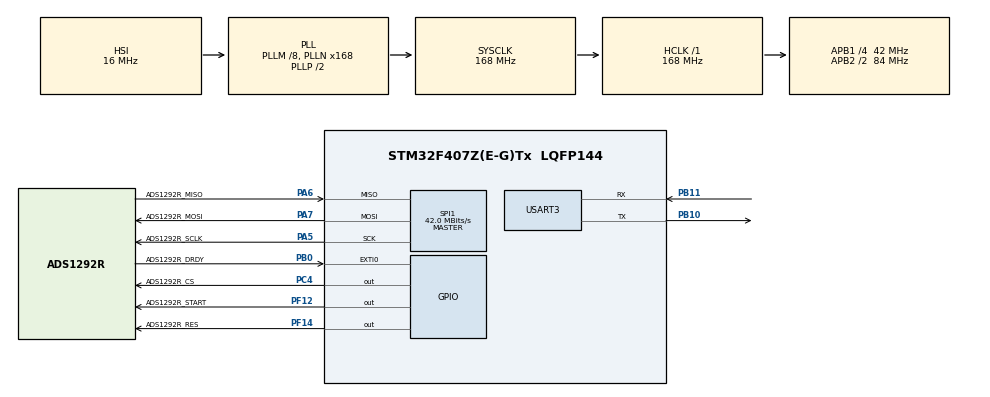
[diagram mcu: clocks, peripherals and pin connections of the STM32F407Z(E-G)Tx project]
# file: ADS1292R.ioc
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Mcu.Family=STM32F4
Mcu.Name=STM32F407Z(E-G)Tx
Mcu.Package=LQFP144
NVIC.EXTI0_IRQn=true\:0\:0\:false\:false\:true\:true\:true
NVIC.PriorityGroup=NVIC_PRIORITYGROUP_2
PA5.GPIO_Label=ADS1292R_SCLK
PA5.Mode=Full_Duplex_Master
PA5.Signal=SPI1_SCK
PA6.GPIO_Label=ADS1292R_MISO
PA6.Mode=Full_Duplex_Master
PA6.Signal=SPI1_MISO
PA7.GPIO_Label=ADS1292R_MOSI
PA7.Mode=Full_Duplex_Master
PA7.Signal=SPI1_MOSI
PB0.GPIO_Label=ADS1292R_DRDY
PB0.GPIO_ModeDefaultEXTI=GPIO_MODE_IT_FALLING
PB0.GPIO_PuPd=GPIO_PULLUP
PB0.Signal=GPXTI0
PB10.GPIO_PuPd=GPIO_PULLUP
PB10.GPIO_Speed=GPIO_SPEED_FREQ_LOW
PB10.Mode=Asynchronous
PB10.Signal=USART3_TX
PB11.GPIO_PuPd=GPIO_PULLUP
PB11.GPIO_Speed=GPIO_SPEED_FREQ_LOW
PB11.Mode=Asynchronous
PB11.Signal=USART3_RX
PC4.GPIO_Label=ADS1292R_CS
PC4.GPIO_PuPd=GPIO_PULLUP
PC4.GPIO_Speed=GPIO_SPEED_FREQ_HIGH
PC4.Signal=GPIO_Output
PF12.GPIO_Label=ADS1292R_START
PF12.Signal=GPIO_Output
PF14.GPIO_Label=ADS1292R_RES
PF14.Signal=GPIO_Output
ProjectManager.HeapSize=0x200
ProjectManager.StackSize=0x400
ProjectManager.TargetToolchain=MDK-ARM V5.27
RCC.48MHZClocksFreq_Value=84000000
RCC.AHBFreq_Value=168000000
RCC.APB1CLKDivider=RCC_HCLK_DIV4
RCC.APB1Freq_Value=42000000
RCC.APB1TimFreq_Value=84000000
RCC.APB2CLKDivider=RCC_HCLK_DIV2
RCC.APB2Freq_Value=84000000
RCC.APB2TimFreq_Value=168000000
RCC.CortexFreq_Value=168000000
RCC.HCLKFreq_Value=168000000
RCC.HSE_VALUE=25000000
RCC.HSI_VALUE=16000000
RCC.LSE_VALUE=32768
RCC.PLLM=8
RCC.PLLN=168
RCC.SYSCLKFreq_VALUE=168000000
RCC.SYSCLKSource=RCC_SYSCLKSOURCE_PLLCLK
RCC.VCOOutputFreq_Value=336000000
SPI1.CalculateBaudRate=42.0 MBits/s
SPI1.Direction=SPI_DIRECTION_2LINES
SPI1.Mode=SPI_MODE_MASTER
SPI1.VirtualType=VM_MASTER
USART3.VirtualMode=VM_ASYNC
board=custom

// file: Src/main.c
/* USER CODE BEGIN Header */
/**
  ******************************************************************************
  * @file           : main.c
  * @brief          : Main program body
  ******************************************************************************
  * @attention
  *
  * <h2><center>&copy; Copyright (c) 2020 STMicroelectronics.
  * All rights reserved.</center></h2>
  *
  * This software component is licensed by ST under BSD 3-Clause license,
  * the "License"; You may not use this file except in compliance with the
  * License. You may obtain a copy of the License at:
  *                        opensource.org/licenses/BSD-3-Clause
  *
  ******************************************************************************
  */
/* USER CODE END Header */

#include "main.h"
#include "spi.h"
#include "usart.h"
#include "gpio.h"

/* USER CODE BEGIN Includes */
#include "hmi_uart.h"
#include "ads1292r.h"
/* USER CODE END Includes */

/* USER CODE BEGIN PV */
extern uint8_t ADS1292R_data_buf[9]; //ADS1292 data buffer
extern uint8_t ADS1292R_receive_flag;

uint32_t channel[2] = {0}; //ADS1292R dual channel data
/* USER CODE END PV */

void SystemClock_Config(void);
/* USER CODE BEGIN PFP */
uint32_t get_volt(uint32_t num);
void HAL_GPIO_EXTI_Callback(uint16_t GPIO_Pin);
/* USER CODE END PFP */

int main(void)
{

    /* MCU Configuration--------------------------------------------------------*/

    /* Reset of all peripherals, Initializes the Flash interface and the Systick. */
    HAL_Init();

    /* Configure the system clock */
    SystemClock_Config();

    /* Initialize all configured peripherals */
    MX_GPIO_Init();
    MX_SPI1_Init();
    MX_USART3_UART_Init();
    /* USER CODE BEGIN 2 */
    ADS1292R_Init();
    ADS1292R_ADCStartNormal();
    /* USER CODE END 2 */

    /* Infinite loop */
    /* USER CODE BEGIN WHILE */
    while (1)
    {
        channel[0] = get_volt(ADS1292R_data_buf[3] << 16 | ADS1292R_data_buf[4] << 8 | ADS1292R_data_buf[5]); //get ECG data
        channel[1] = get_volt(ADS1292R_data_buf[6] << 16 | ADS1292R_data_buf[7] << 8 | ADS1292R_data_buf[8]);
        /* USER CODE END WHILE */

    }
}

void SystemClock_Config(void)
{
    RCC_OscInitTypeDef RCC_OscInitStruct = {0};
    RCC_ClkInitTypeDef RCC_ClkInitStruct = {0};

    /** Configure the main internal regulator output voltage
  */
    __HAL_RCC_PWR_CLK_ENABLE();
    __HAL_PWR_VOLTAGESCALING_CONFIG(PWR_REGULATOR_VOLTAGE_SCALE1);
    /** Initializes the CPU, AHB and APB busses clocks
  */
    RCC_OscInitStruct.OscillatorType = RCC_OSCILLATORTYPE_HSI;
    RCC_OscInitStruct.HSIState = RCC_HSI_ON;
    RCC_OscInitStruct.HSICalibrationValue = RCC_HSICALIBRATION_DEFAULT;
    RCC_OscInitStruct.PLL.PLLState = RCC_PLL_ON;
    RCC_OscInitStruct.PLL.PLLSource = RCC_PLLSOURCE_HSI;
    RCC_OscInitStruct.PLL.PLLM = 8;
    RCC_OscInitStruct.PLL.PLLN = 168;
    RCC_OscInitStruct.PLL.PLLP = RCC_PLLP_DIV2;
    RCC_OscInitStruct.PLL.PLLQ = 4;
    if (HAL_RCC_OscConfig(&RCC_OscInitStruct) != HAL_OK)
    {
        Error_Handler();
    }
    /** Initializes the CPU, AHB and APB busses clocks
  */
    RCC_ClkInitStruct.ClockType = RCC_CLOCKTYPE_HCLK | RCC_CLOCKTYPE_SYSCLK | RCC_CLOCKTYPE_PCLK1 | RCC_CLOCKTYPE_PCLK2;
    RCC_ClkInitStruct.SYSCLKSource = RCC_SYSCLKSOURCE_PLLCLK;
    RCC_ClkInitStruct.AHBCLKDivider = RCC_SYSCLK_DIV1;
    RCC_ClkInitStruct.APB1CLKDivider = RCC_HCLK_DIV4;
    RCC_ClkInitStruct.APB2CLKDivider = RCC_HCLK_DIV2;

    if (HAL_RCC_ClockConfig(&RCC_ClkInitStruct, FLASH_LATENCY_5) != HAL_OK)
    {
        Error_Handler();
    }
}

/* USER CODE BEGIN 4 */

/**
  * @name   get_volt(uint32_t num)
  *
  * @brief  Convert the 3 bytes complement to a signed 32-bit number.
  *
  * @note
  *
  * @param  num: the 3 bytes data you have received.
  *
  * @retval A signed 32-bit number
  */
uint32_t get_volt(uint32_t num)
{
    uint32_t temp;
    temp = num;
    temp <<= 8;
    temp >>= 8;
    return temp;
}

/**
  * @name   HAL_GPIO_EXTI_Callback(uint16_t GPIO_Pin)
  *
  * @brief  External interrupt callback function.
  *         When a falling edge on DRDY_Pin, the ADS1292R_receive_flag will
  *         set to 1 , then SPI will be ready to receive data.
  *
  * @note
  *
  * @retval None
  */
void HAL_GPIO_EXTI_Callback(uint16_t GPIO_Pin)
{
    if (GPIO_Pin == ADS1292R_DRDY_Pin)
    {
        ADS1292R_GetValue();
        ADS1292R_receive_flag = 1;
    }
}

/* USER CODE END 4 */

void Error_Handler(void)
{
}

/************************ (C) COPYRIGHT STMicroelectronics *****END OF FILE****/
